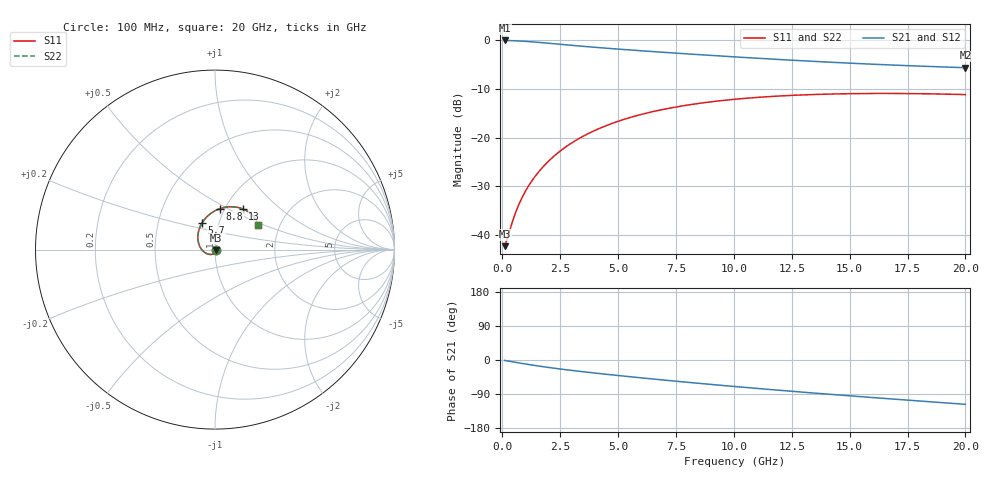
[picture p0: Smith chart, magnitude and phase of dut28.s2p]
! Touchstone file exported from HFSS 2024.1.0
!  File:  C:/UserFiles/LocalFiles/RDL_TSV_Batchsim/temp_RDL_TSV_28_1779401577.aedt
!  Generated:  06:27:24 AM May 22, 2026
!  Design:  RDL_TSV
!  Project:  temp_RDL_TSV_28_1779401577
!  Setup:  Setup1
!  Solution:  Sweep
! Variables:
!  dtsv = 7.61um
!  hbump = 3um
!  htsv = 81.86um
!  ldown = 331.42um
!  lrdl = 101.41um
!  p = 40
!  p1 = 46.97um
!  rhole = 10um
!  subl = 1399.9um
!  t = 450um
!  tdown = 2.83um
!  trdl = 3.79um
!  viad = 10um
!  wdown = 28.44um
!  wrdl = 28.77um
!  xbump = 18um
# GHz S MA R 50.000000
! Terminal data exported
! Port[1] = TM1_1_T1
! Port[2] = TM1_4_T1
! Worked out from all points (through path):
!   200 points, 100 MHz to 20 GHz, reference 50 ohm
!   highest |S21| = -0.07 dB at 100 MHz (marker M1); lowest = -5.7 dB at 20 GHz (marker M2)
!   group delay of S21, straight-line fit = 15.4 ps
!   lowest |S11| = -42.2 dB at 100 MHz (marker M3), VSWR 1.02, Z = 50.7 - j0.282 ohm
!   |S11| at or under -10 dB: start of sweep to end of sweep
!   |S22| runs from -42.2 to -10.9 dB; largest |S21 - S12| = 9.9e-15
!   S11 on the Smith chart (normalised r, x): 100 MHz: 1.01, -0.01; 5.7 GHz: 0.83, +0.25; 8.8 GHz: 0.95, +0.46; 13 GHz: 1.21, +0.59; 20 GHz: 1.55, +0.46
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0.1  0.007718 -21.1  0.9923 -1.1  0.9923 -1.1  0.007718 -21.1
! Gamma 0 0 0 0
! Port Impedance 50 0 50 0
0.2  0.008975 -39.9  0.9913 -2.2  0.9913 -2.2  0.008975 -39.9
0.5  0.01523 -78.9  0.9861 -5.4  0.9861 -5.4  0.01523 -78.9
0.7  0.02025 -96.1  0.9811 -7.5  0.9811 -7.5  0.02025 -96.0
1  0.02829 -116.0  0.9717 -10.5  0.9717 -10.5  0.02829 -116.0
1.3  0.03673 -132.2  0.9602 -13.4  0.9602 -13.4  0.03673 -132.2
1.5  0.04254 -141.7  0.9518 -15.3  0.9518 -15.3  0.04253 -141.6
1.8  0.05146 -154.4  0.9384 -18.0  0.9384 -18.0  0.05144 -154.4
2.3  0.06672 -172.7  0.9154 -22.2  0.9154 -22.2  0.06668 -172.6
2.9  0.0853 169.2  0.8885 -26.8  0.8885 -26.8  0.08523 169.3
3.5  0.1037 154.2  0.8633 -31.1  0.8633 -31.1  0.1036 154.3
4.5  0.1332 134.2  0.8259 -37.8  0.8259 -37.8  0.1331 134.3
5.7  0.1656 115.7  0.7868 -45.3  0.7868 -45.3  0.1654 115.8
6.8  0.1916 102.3  0.7546 -51.9  0.7546 -51.9  0.1914 102.3
7.8  0.2122 92.0  0.7276 -57.7  0.7276 -57.7  0.2119 92.0
8.8  0.2298 83.2  0.7023 -63.3  0.7023 -63.3  0.2294 83.2
10.1  0.2483 73.2  0.6718 -70.3  0.6718 -70.3  0.248 73.2
13  0.2746 55.8  0.6134 -85.0  0.6134 -85.0  0.2741 55.8
13.4  0.2767 53.8  0.6063 -87.0  0.6063 -87.0  0.2763 53.8
15  0.2825 46.5  0.5805 -94.5  0.5805 -94.5  0.282 46.4
16.7  0.284 39.8  0.5571 -102.3  0.5571 -102.3  0.2835 39.8
20  0.2764 29.8  0.5217 -117.0  0.5217 -117.0  0.276 29.7
